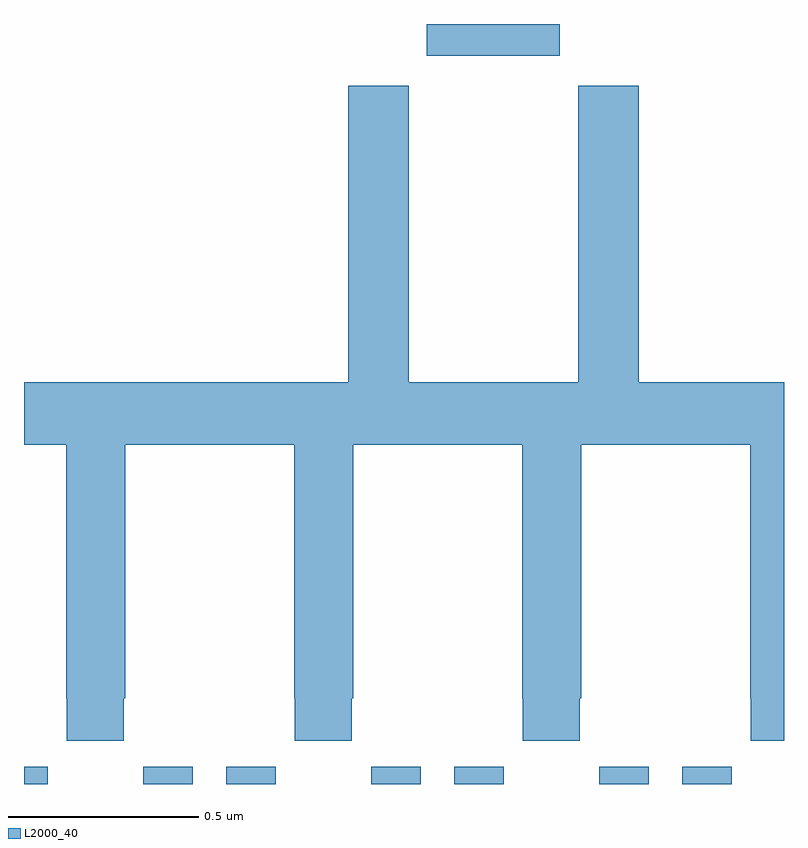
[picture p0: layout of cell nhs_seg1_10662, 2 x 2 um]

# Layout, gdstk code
import gdstk
lib = gdstk.Library(unit=1e-6, precision=1e-09)
def R(c, l, rs):  # rectangles x0, y0, x1, y1
    for r in rs: c.add(gdstk.rectangle(r[:2], r[2:], *l))
def P(c, l, *ps):  # polygons
    for p in ps: c.add(gdstk.Polygon(p, *l))
L2000_40 = (2000, 40)

nhs_seg1_10662 = lib.new_cell('nhs_seg1_10662')
R(nhs_seg1_10662, L2000_40, [(244,524.199,244.062,524.245), (244.314,524.199,244.444,524.245), (244.532,524.199,244.662,524.245), (244.914,524.199,245.044,524.245), (245.132,524.199,245.262,524.245), (245.514,524.199,245.644,524.245), (245.732,524.199,245.862,524.245), (245.06,526.115,245.41,526.199)])
P(nhs_seg1_10662, L2000_40, [(244.263,524.425),(244.266,524.425),(244.266,525.092),(244.711,525.092),(244.711,524.425),(244.713,524.425),(244.713,524.313),(244.863,524.313),(244.863,524.425),(244.866,524.425),(244.866,525.092),(245.311,525.092),(245.311,524.425),(245.313,524.425),(245.313,524.313),(245.463,524.313),(245.463,524.425),(245.466,524.425),(245.466,525.092),(245.911,525.092),(245.911,524.425),(245.913,524.425),(245.913,524.313),(246,524.313),(246,525.256),(245.618,525.256),(245.618,526.036),(245.458,526.036),(245.458,525.256),(245.013,525.256),(245.013,526.036),(244.853,526.036),(244.853,525.256),(244,525.256),(244,525.092),(244.111,525.092),(244.111,524.425),(244.113,524.425),(244.113,524.313),(244.263,524.313)])

lib.write_gds('nhs_seg1_10662.gds')
